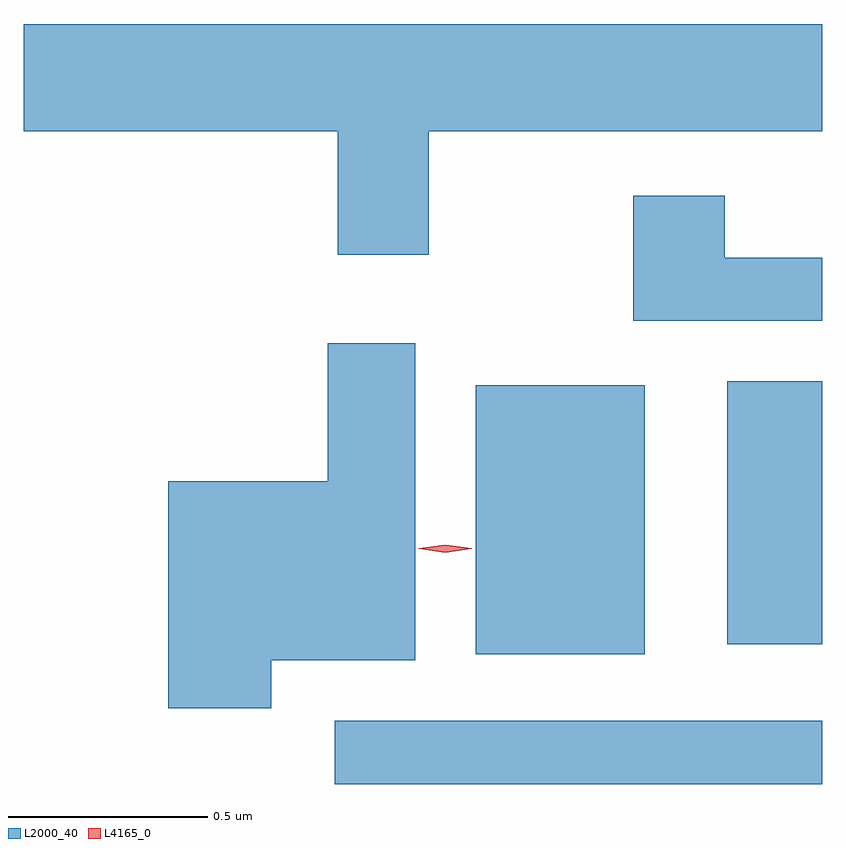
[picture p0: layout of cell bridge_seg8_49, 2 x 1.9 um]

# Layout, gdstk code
import gdstk
lib = gdstk.Library(unit=1e-6, precision=1e-09)
def R(c, l, rs):  # rectangles x0, y0, x1, y1
    for r in rs: c.add(gdstk.rectangle(r[:2], r[2:], *l))
def P(c, l, *ps):  # polygons
    for p in ps: c.add(gdstk.Polygon(p, *l))
L2000_40 = (2000, 40)
L4165_0 = (4165, 0)

bridge_seg8_49 = lib.new_cell('bridge_seg8_49')
R(bridge_seg8_49, L2000_40, [(1636.113,1921.361,1637.334,1921.519), (1636.466,1921.686,1636.889,1922.359), (1637.096,1921.711,1637.334,1922.369)])
P(bridge_seg8_49, L2000_40, [(1636.349,1922.996),(1637.334,1922.996),(1637.334,1923.264),(1635.334,1923.264),(1635.334,1922.996),(1636.121,1922.996),(1636.121,1922.686),(1636.349,1922.686)],
  [(1637.334,1922.679),(1637.089,1922.679),(1637.089,1922.834),(1636.861,1922.834),(1636.861,1922.521),(1637.334,1922.521)],
  [(1635.954,1921.671),(1636.314,1921.671),(1636.314,1922.464),(1636.096,1922.464),(1636.096,1922.119),(1635.696,1922.119),(1635.696,1921.551),(1635.954,1921.551)])
P(bridge_seg8_49, L4165_0, [(1636.39,1921.94),(1636.323,1921.95),(1636.323,1921.95),(1636.323,1921.951),(1636.39,1921.96),(1636.456,1921.951),(1636.456,1921.951),(1636.456,1921.95)])

lib.write_gds('bridge_seg8_49.gds')
